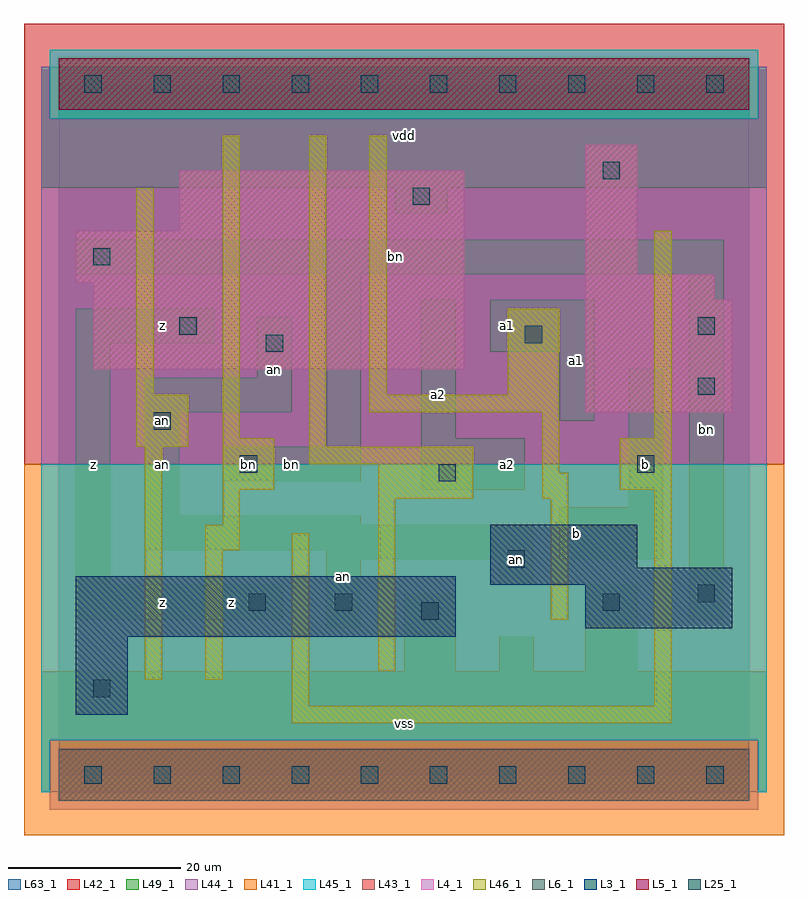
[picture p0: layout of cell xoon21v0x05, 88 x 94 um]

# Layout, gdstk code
import gdstk
lib = gdstk.Library(unit=1e-6, precision=1e-09)
def R(c, l, rs):  # rectangles x0, y0, x1, y1
    for r in rs: c.add(gdstk.rectangle(r[:2], r[2:], *l))
def A(c, l, x, y, w, h, nx, ny, dx, dy):  # array of equal rectangles
    R(c, l, [(x+i*dx, y+j*dy, x+i*dx+w, y+j*dy+h) for i in range(nx) for j in range(ny)])
L3_1 = (3, 1)
L4_1 = (4, 1)
L5_1 = (5, 1)
L6_1 = (6, 1)
L25_1 = (25, 1)
L41_1 = (41, 1)
L42_1 = (42, 1)
L43_1 = (43, 1)
L44_1 = (44, 1)
L45_1 = (45, 1)
L46_1 = (46, 1)
L49_1 = (49, 1)
L63_1 = (63, 1)

xoon21v0x05 = lib.new_cell('xoon21v0x05')
R(xoon21v0x05, L3_1, [(2,7,8,16), (2,16,46,23), (61,17,78,22), (50,22,78,24), (50,24,67,29)])
R(xoon21v0x05, L4_1, [(61,42,78,55), (4,47,47,57), (61,55,76,58), (2,57,47,63), (61,58,67,73), (14,63,47,70)])
R(xoon21v0x05, L5_1, [(0,77,80,83)])
R(xoon21v0x05, L6_1, [(0,-3,80,3), (0,-3,80,3)])
A(xoon21v0x05, L25_1, 3, -1, 2, 2, 10, 2, 8, 80)
R(xoon21v0x05, L25_1, [(4,9,6,11), (42,18,44,20), (22,19,24,21), (32,19,34,21), (63,19,65,21), (74,20,76,22), (52,24,54,26), (44,34,46,36), (21,35,23,37), (67,35,69,37), (11,40,13,42), (74,44,76,46), (24,49,26,51), (54,50,56,52), (14,51,16,53), (74,51,76,53), (4,59,6,61), (41,66,43,68), (63,69,65,71)])
R(xoon21v0x05, L41_1, [(-4,-7,84,36)])
R(xoon21v0x05, L42_1, [(-4,36,84,87)])
R(xoon21v0x05, L43_1, [(0,-3,80,3), (2,7,8,16), (2,16,46,23), (61,17,78,22), (50,22,78,24), (50,24,67,29), (61,42,78,55), (4,47,47,57), (61,55,76,58), (2,57,47,63), (61,58,67,73), (14,63,47,70), (0,77,80,83)])
R(xoon21v0x05, L44_1, [(-1,-4,81,4), (-2,36,82,76), (-2,76,-1,82), (81,76,82,82)])
R(xoon21v0x05, L45_1, [(-2,-2,-1,4), (81,-2,82,4), (-2,4,82,36), (-1,76,81,84)])
R(xoon21v0x05, L46_1, [(27,6,71,8), (27,8,29,28), (69,8,71,33), (10,11,12,38), (17,11,19,26), (37,12,39,32), (57,18,59,32), (17,26,21,29), (19,29,21,33), (37,32,48,36), (56,32,59,35), (19,33,25,39), (65,33,71,39), (56,35,58,42), (29,36,48,38), (9,38,15,44), (29,38,31,74), (19,39,21,74), (69,39,71,63), (36,42,58,44), (9,44,11,68), (36,44,38,74), (52,44,58,54)])
R(xoon21v0x05, L49_1, [(-2,-2,82,12), (40,12,46,21), (51,12,55,16), (61,12,67,22), (31,17,35,25), (2,18,26,22), (73,18,77,58), (2,22,6,50), (51,22,55,25), (31,25,55,26), (58,25,70,31), (10,26,55,29), (10,29,35,30), (10,30,14,42), (66,31,70,47), (42,33,54,39), (19,34,35,38), (31,38,35,58), (42,39,46,55), (58,41,62,49), (10,42,27,46), (23,46,27,53), (50,49,62,55), (2,50,18,54), (2,58,77,62), (39,65,45,68), (-2,68,82,82)])
R(xoon21v0x05, L63_1, [(0,0,80,80)])
xoon21v0x05.add(gdstk.Label('an', (12,41), layer=49, texttype=1))
xoon21v0x05.add(gdstk.Label('bn', (22,36), layer=49, texttype=1))
xoon21v0x05.add(gdstk.Label('z', (4,36), layer=49, texttype=1))
xoon21v0x05.add(gdstk.Label('z', (12,20), layer=49, texttype=1))
xoon21v0x05.add(gdstk.Label('z', (20,20), layer=49, texttype=1))
xoon21v0x05.add(gdstk.Label('an', (12,36), layer=49, texttype=1))
xoon21v0x05.add(gdstk.Label('an', (25,47), layer=49, texttype=1))
xoon21v0x05.add(gdstk.Label('z', (12,52), layer=49, texttype=1))
xoon21v0x05.add(gdstk.Label('vss', (40,6), layer=49, texttype=1))
xoon21v0x05.add(gdstk.Label('an', (33,23), layer=49, texttype=1))
xoon21v0x05.add(gdstk.Label('bn', (27,36), layer=49, texttype=1))
xoon21v0x05.add(gdstk.Label('a2', (44,44), layer=49, texttype=1))
xoon21v0x05.add(gdstk.Label('vdd', (40,74), layer=49, texttype=1))
xoon21v0x05.add(gdstk.Label('an', (53,25), layer=49, texttype=1))
xoon21v0x05.add(gdstk.Label('b', (60,28), layer=49, texttype=1))
xoon21v0x05.add(gdstk.Label('a2', (52,36), layer=49, texttype=1))
xoon21v0x05.add(gdstk.Label('a1', (60,48), layer=49, texttype=1))
xoon21v0x05.add(gdstk.Label('a1', (52,52), layer=49, texttype=1))
xoon21v0x05.add(gdstk.Label('b', (68,36), layer=49, texttype=1))
xoon21v0x05.add(gdstk.Label('bn', (75,40), layer=49, texttype=1))
xoon21v0x05.add(gdstk.Label('bn', (39,60), layer=49, texttype=1))

lib.write_gds('xoon21v0x05.gds')
